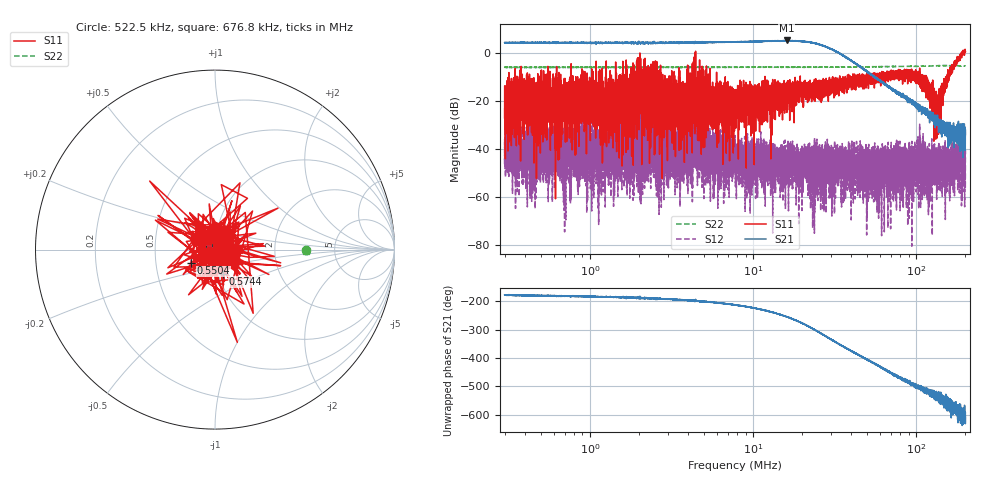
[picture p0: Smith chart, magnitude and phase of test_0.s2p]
# Hz S DB R 50
! CMT, M5065, 19127446, 24.2.4/2
! Date: 11/1/2024 4:54:35 PM
! Data: Format (Calibration Info)
! Freq	S11:dB/Ang(F2)	S21:dB/Ang(F2)	S12:dB/Ang(F2)	S22:dB/Ang(F2)
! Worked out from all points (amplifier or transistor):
!   9000 points, 300 kHz to 200 MHz, reference 50 ohm
!   highest |S21| = 5.3 dB at 16.11 MHz (marker M1)
!   |S21| within 3 dB of that: start of sweep to 28.76 MHz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
!   unconditionally stable (mu >= 1): start of sweep to 2.023 MHz; 2.025 MHz to 4.417 MHz; 4.445 MHz to 188.7 MHz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
!   at 886.8 kHz: K = 17.53, MAG = 5.7 dB, |S12| = -37.8 dB
!   at 7.749 MHz: K = 39.23, MAG = 6.1 dB, |S12| = -45.3 dB
!   at 200 MHz: K = -265.79, MSG = 3.2 dB, |S12| = -40.4 dB
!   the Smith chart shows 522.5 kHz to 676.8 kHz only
!   S11 on the Smith chart (normalised r, x): 522.5 kHz: 1.03, +0.02; 550.4 kHz: 0.76, -0.12; 574.4 kHz: 1.05, -0.29; 676.8 kHz: 1.30, -0.00
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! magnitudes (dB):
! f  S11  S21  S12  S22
! 300 kHz  -27.0  4.4  -46.3  -5.9
! 322.5 kHz  -27.8  4.4  -39.0  -5.9
! 345.9 kHz  -16.2  4.4  -38.9  -5.9
! 522.5 kHz  -33.6  4.4  -50.7  -5.9
! 550.4 kHz  -16.2  4.5  -45.7  -5.9
! 574.4 kHz  -16.9  4.3  -38.4  -5.9
! 676.8 kHz  -17.7  4.3  -51.2  -5.9
! 886.8 kHz  -29.3  4.4  -37.8  -6.0
! 1.305 MHz  -22.3  4.4  -47.2  -5.9
! 2.008 MHz  -27.3  4.4  -31.4  -5.9
! 2.621 MHz  -22.1  4.4  -31.3  -5.9
! 4.404 MHz  -25.5  4.4  -38.6  -5.9
! 7.749 MHz  -19.7  4.8  -45.3  -5.9
! 16.11 MHz  -12.2  5.3  -46.3  -5.9
! 22.91 MHz  -13.8  4.5  -51.4  -5.9
! 67.71 MHz  -9.0  -13.9  -59.4  -5.6
! 101.8 MHz  -11.1  -22.0  -54.4  -5.5
! 116.5 MHz  -13.6  -24.9  -45.1  -5.4
! 133.3 MHz  -18.3  -28.8  -41.4  -5.2
! 161.7 MHz  -8.6  -33.4  -42.1  -5.2
! 193.5 MHz  -0.1  -34.3  -44.8  -5.3
! 200 MHz  0.6  -33.9  -40.4  -5.3
